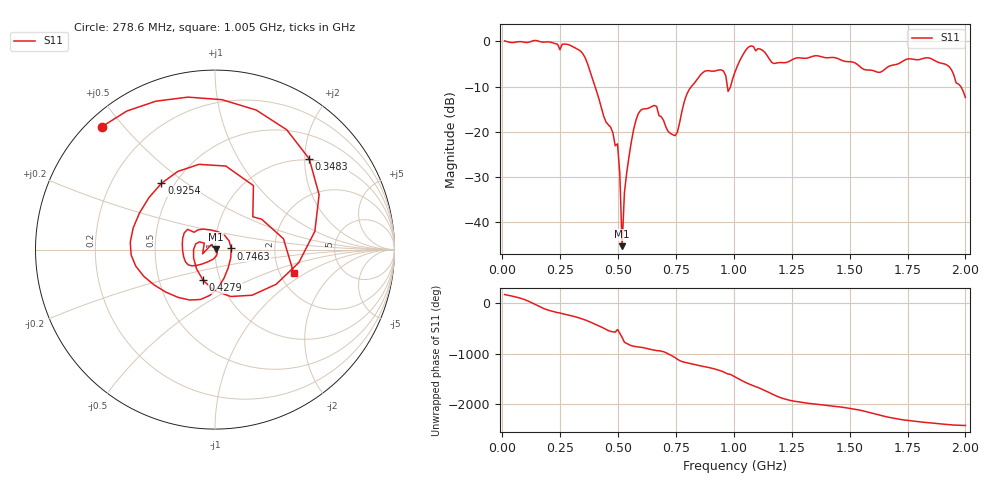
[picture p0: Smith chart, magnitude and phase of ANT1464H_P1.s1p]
!Created with skrf (http://scikit-rf.org).
# Hz S RI R 50.0
!freq ReS11 ImS11
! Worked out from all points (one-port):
!   201 points, 10 MHz to 2 GHz, reference 50 ohm
!   lowest |S11| = -45.4 dB at 517.5 MHz (marker M1), VSWR 1.01, Z = 50.4 + j0.38 ohm
!   |S11| at or under -10 dB: 400.1 MHz to 816.9 MHz (416.8 MHz wide, 68.5 % of centre); 972 MHz to 986 MHz (13.93 MHz wide, 1.42 % of centre); 1.98 GHz to end of sweep
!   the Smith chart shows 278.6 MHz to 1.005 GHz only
!   S11 on the Smith chart (normalised r, x): 278.6 MHz: 0.04, +0.44; 348.3 MHz: 0.97, +2.10; 427.9 MHz: 0.83, -0.29; 746.3 MHz: 1.20, +0.02; 925.4 MHz: 0.42, +0.41; 1.005 GHz: 2.38, -0.80
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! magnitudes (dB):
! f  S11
! 10 MHz  0.1
! 258.8 MHz  -0.6
! 278.6 MHz  -0.6
! 348.3 MHz  -2.7
! 427.9 MHz  -14.7
! 497.6 MHz  -22.7
! 507.5 MHz  -29.3
! 517.5 MHz  -45.4
! 527.4 MHz  -33.6
! 537.4 MHz  -29.1
! 567.2 MHz  -19.5
! 587.1 MHz  -16.1
! 666.7 MHz  -14.4
! 746.3 MHz  -20.9
! 756.2 MHz  -20.1
! 806 MHz  -10.8
! 925.4 MHz  -6.5
! 955.2 MHz  -6.6
! 975.1 MHz  -11.1
! 1.005 GHz  -6.8
! 1.075 GHz  -1.0
! 1.174 GHz  -4.9
! 1.254 GHz  -4.0
! 1.502 GHz  -4.5
! 1.632 GHz  -6.8
! 1.751 GHz  -3.9
! 1.92 GHz  -5.2
! 2 GHz  -12.4
